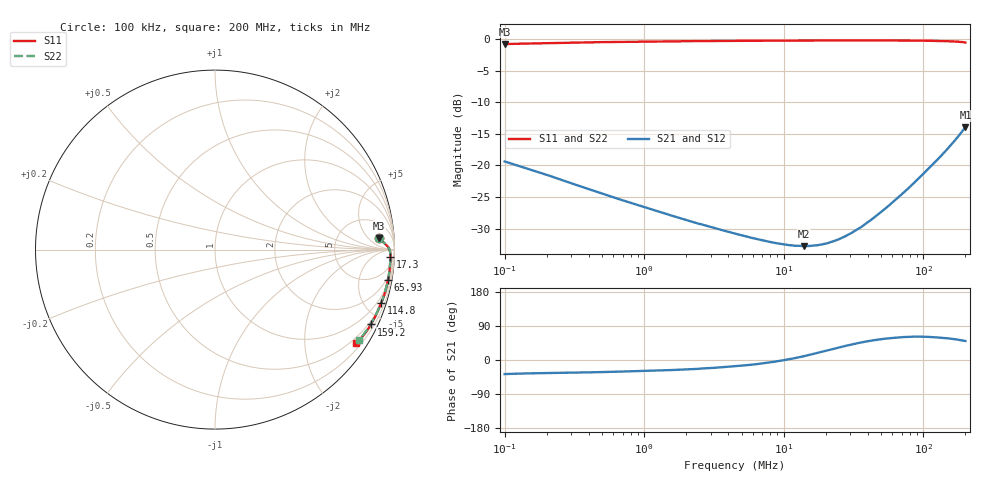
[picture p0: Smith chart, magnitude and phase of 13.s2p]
#  HZ  S  RI  R  50.00
! Rohde & Schwarz Vector Network Analyzer
! Rohde-Schwarz,ZNLE6-2Port,1323001256200024,1.71.1.10-23.02.1.238
! Created: UTC 4/11/2025, 6:25:18 AM
! freq[Hz]  re:S11  im:S11  re:S21  im:S21  re:S12  im:S12  re:S22  im:S22
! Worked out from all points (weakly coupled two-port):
!   1001 points, 100 kHz to 200 MHz, reference 50 ohm
!   highest |S21| = -13.93 dB at 200 MHz (marker M1); lowest = -32.8 dB at 13.99 MHz (marker M2)
!   lowest |S11| = -0.7 dB at 100 kHz (marker M3), VSWR 23.27, Z = 696 + j570 ohm
!   |S11| at or under -10 dB: nowhere
!   |S22| runs from -0.7 to -0.2 dB; largest |S21 - S12| = 0.0035
!   S11 on the Smith chart (normalised r, x): 100 kHz: 14, +11; 17.3 MHz: 20, -38; 65.93 MHz: 1, -11; 114.8 MHz: 0.57, -6.32; 159.2 MHz: 0.37, -4.36; 200 MHz: 0.35, -3.30
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100000  0.9153 0.0646  0.0858 -0.065  0.0859 -0.0651  0.915 0.0644
355854.1  0.9438 0.0361  0.0569 -0.0369  0.0569 -0.037  0.9436 0.0361
1266322  0.9621 0.0174  0.0381 -0.0201  0.0381 -0.0201  0.9621 0.0176
4472136  0.9725 -0.000623  0.0277 -0.0082  0.0276 -0.0084  0.9725 -6.42e-05
8796434  0.9759 -0.0152  0.0241 -0.00158  0.0242 -0.00207  0.9759 -0.014
1.104937e7  0.9767 -0.0219  0.0233 0.00105  0.0234 0.000536  0.9767 -0.0206
1.398523e7  0.9772 -0.0305  0.0225 0.00413  0.0227 0.00361  0.9772 -0.029
1.591428e7  0.9774 -0.0356  0.0223 0.00601  0.0223 0.00581  0.9775 -0.0343
1.730208e7  0.9776 -0.0398  0.0221 0.00736  0.0223 0.00683  0.9776 -0.0381
2.029644e7  0.9775 -0.0481  0.0219 0.0101  0.0221 0.00969  0.9776 -0.0462
2.380902e7  0.9772 -0.0577  0.0218 0.0133  0.022 0.0129  0.9774 -0.0556
2.990698e7  0.9764 -0.0743  0.022 0.0186  0.0221 0.0184  0.9767 -0.0717
3.535047e7  0.9752 -0.0893  0.0224 0.0231  0.0228 0.0226  0.9756 -0.0859
4.115435e7  0.9737 -0.1048  0.0231 0.028  0.0236 0.0275  0.9743 -0.101
5.663162e7  0.9681 -0.1462  0.026 0.0405  0.0266 0.04  0.9689 -0.141
6.592947e7  0.9638 -0.1712  0.0282 0.048  0.0296 0.0472  0.9646 -0.1648
8.800731e7  0.9499 -0.2286  0.0355 0.0658  0.0369 0.0651  0.9512 -0.2212
1.148299e8  0.9257 -0.2981  0.0493 0.0871  0.0509 0.0862  0.9291 -0.2895
1.367661e8  0.9005 -0.3567  0.0638 0.1042  0.0654 0.103  0.9051 -0.3456
1.592205e8  0.8686 -0.417  0.0822 0.1222  0.0842 0.1206  0.8756 -0.4026
1.757569e8  0.8407 -0.4603  0.0989 0.1351  0.1014 0.1332  0.8489 -0.4446
2e8  0.7873 -0.5195  0.129 0.1543  0.1316 0.1519  0.8008 -0.5037
